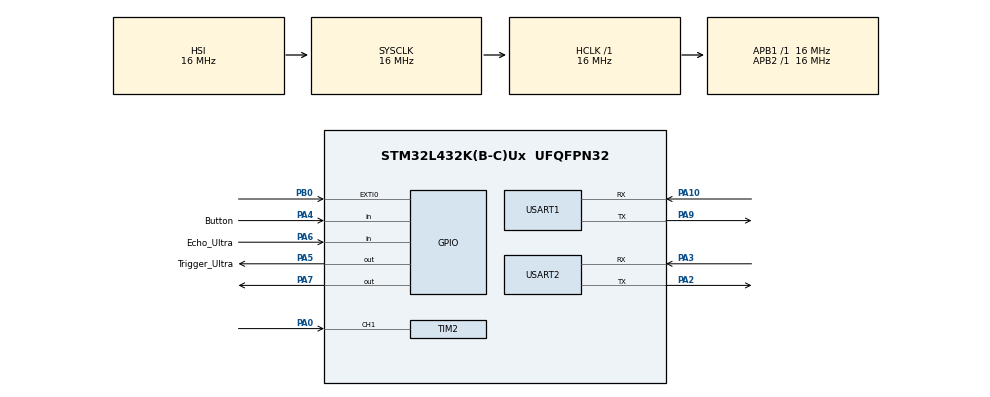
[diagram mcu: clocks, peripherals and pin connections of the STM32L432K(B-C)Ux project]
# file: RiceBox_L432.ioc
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Dma.Request0=USART1_RX
Dma.Request1=USART2_RX
Dma.USART1_RX.0.Direction=DMA_PERIPH_TO_MEMORY
Dma.USART1_RX.0.Instance=DMA1_Channel5
Dma.USART1_RX.0.MemDataAlignment=DMA_MDATAALIGN_BYTE
Dma.USART1_RX.0.MemInc=DMA_MINC_ENABLE
Dma.USART1_RX.0.Mode=DMA_CIRCULAR
Dma.USART1_RX.0.PeriphDataAlignment=DMA_PDATAALIGN_BYTE
Dma.USART1_RX.0.PeriphInc=DMA_PINC_DISABLE
Dma.USART1_RX.0.Priority=DMA_PRIORITY_MEDIUM
Dma.USART2_RX.1.Direction=DMA_PERIPH_TO_MEMORY
Dma.USART2_RX.1.Instance=DMA1_Channel6
Dma.USART2_RX.1.MemDataAlignment=DMA_MDATAALIGN_BYTE
Dma.USART2_RX.1.MemInc=DMA_MINC_ENABLE
Dma.USART2_RX.1.Mode=DMA_NORMAL
Dma.USART2_RX.1.PeriphDataAlignment=DMA_PDATAALIGN_BYTE
Dma.USART2_RX.1.PeriphInc=DMA_PINC_DISABLE
Dma.USART2_RX.1.Priority=DMA_PRIORITY_LOW
IWDG.Prescaler=IWDG_PRESCALER_256
Mcu.Family=STM32L4
Mcu.Name=STM32L432K(B-C)Ux
Mcu.Package=UFQFPN32
NVIC.DMA1_Channel5_IRQn=true\:2\:0\:true\:false\:true\:false\:true\:true
NVIC.DMA1_Channel6_IRQn=true\:0\:0\:false\:false\:true\:false\:true\:true
NVIC.EXTI0_IRQn=true\:0\:0\:false\:false\:true\:true\:true\:true
NVIC.LPTIM1_IRQn=true\:0\:0\:false\:false\:true\:true\:true\:true
NVIC.PriorityGroup=NVIC_PRIORITYGROUP_4
NVIC.RTC_Alarm_IRQn=true\:0\:0\:false\:false\:true\:true\:true\:true
NVIC.TIM1_UP_TIM16_IRQn=true\:15\:0\:false\:false\:true\:false\:true\:true
NVIC.TIM2_IRQn=true\:0\:0\:false\:false\:true\:true\:true\:true
NVIC.TimeBase=TIM1_UP_TIM16_IRQn
NVIC.TimeBaseIP=TIM1
NVIC.USART1_IRQn=true\:2\:0\:true\:false\:true\:true\:true\:true
NVIC.USART2_IRQn=true\:0\:0\:false\:false\:true\:true\:true\:true
PA0.Signal=S_TIM2_CH1
PA10.GPIO_ModeDefaultPP=GPIO_MODE_AF_OD
PA10.GPIO_PuPd=GPIO_PULLDOWN
PA10.Mode=Asynchronous
PA10.Signal=USART1_RX
PA13\ (JTMS-SWDIO).Mode=Serial_Wire
PA13\ (JTMS-SWDIO).Signal=SYS_JTMS-SWDIO
PA14\ (JTCK-SWCLK).Mode=Serial_Wire
PA14\ (JTCK-SWCLK).Signal=SYS_JTCK-SWCLK
PA2.Mode=Asynchronous
PA2.Signal=USART2_TX
PA3.GPIO_PuPd=GPIO_PULLDOWN
PA3.Mode=Asynchronous
PA3.Signal=USART2_RX
PA4.GPIO_Label=Button
PA4.GPIO_PuPd=GPIO_PULLDOWN
PA4.Signal=GPIO_Input
PA5.GPIO_Label=Trigger_Ultra
PA5.Signal=GPIO_Output
PA6.GPIO_Label=Echo_Ultra
PA6.Signal=GPIO_Input
PA7.Signal=GPIO_Output
PA9.Mode=Asynchronous
PA9.Signal=USART1_TX
PB0.Signal=GPXTI0
ProjectManager.HeapSize=0x200
ProjectManager.StackSize=0x400
ProjectManager.TargetToolchain=STM32CubeIDE
RCC.ADCFreq_Value=32000000
RCC.AHBFreq_Value=16000000
RCC.APB1Freq_Value=16000000
RCC.APB1TimFreq_Value=16000000
RCC.APB2Freq_Value=16000000
RCC.APB2TimFreq_Value=16000000
RCC.CortexFreq_Value=16000000
RCC.HCLKFreq_Value=16000000
RCC.HSE_VALUE=8000000
RCC.HSI48_VALUE=48000000
RCC.HSI_VALUE=16000000
RCC.LSE_VALUE=32768
RCC.MSIClockRange=RCC_MSIRANGE_7
RCC.MSI_VALUE=8000000
RCC.SYSCLKFreq_VALUE=16000000
RCC.SYSCLKSource=RCC_SYSCLKSOURCE_HSI
RCC.USBFreq_Value=32000000
RCC.VCOOutputFreq_Value=64000000
RTC.Alarm=RTC_ALARM_A
SH.S_TIM2_CH1.0=TIM2_CH1,Input_Capture1_from_TI1
TIM2.Channel-Input_Capture1_from_TI1=TIM_CHANNEL_1
TIM2.Period=0
TIM2.Prescaler=16-1
USART1.VirtualMode-Asynchronous=VM_ASYNC
USART2.VirtualMode-Asynchronous=VM_ASYNC
VP_IWDG_VS_IWDG.Mode=IWDG_Activate
VP_LPTIM1_VS_LPTIM_counterModeInternalClock.Mode=Counts__internal_clock_event_00
VP_RTC_VS_RTC_Activate.Mode=RTC_Enabled
VP_RTC_VS_RTC_Alarm_A_Intern.Mode=Alarm A
VP_RTC_VS_RTC_Calendar.Mode=RTC_Calendar
VP_SYS_VS_tim1.Mode=TIM1
VP_TIM2_VS_ClockSourceINT.Mode=Internal
board=custom

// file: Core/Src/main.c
/* USER CODE BEGIN Header */
/**
  ******************************************************************************
  * @file           : main.c
  * @brief          : Main program body
  ******************************************************************************
  * @attention
  *
  * Copyright (c) 2023 STMicroelectronics.
  * All rights reserved.
  *
  * This software is licensed under terms that can be found in the LICENSE file
  * in the root directory of this software component.
  * If no LICENSE file comes with this software, it is provided AS-IS.
  *
  ******************************************************************************
  */
/* USER CODE END Header */
#include "main.h"

/* USER CODE BEGIN Includes */
//#include "dma.h"
//#include "iwdg.h"
//#include "rtc.h"
//#include "tim.h"
//#include "usart.h"
//#include "gpio.h"

//#include "button.h"
//#include "Software_Timer.h"
#include "ViettelSDK.h"
#include "string.h"
#include "DHT.h"
#include <stdio.h>
/* USER CODE END Includes */

/* USER CODE BEGIN PTD */
#define usTIM TIM2
/* USER CODE END PTD */

/* USER CODE BEGIN PD */
#define TRIGGER_PIN GPIO_PIN_5
#define ECHO_PIN GPIO_PIN_6
#define TRIGGER_PORT GPIOA
#define ECHO_PORT GPIOA
/* USER CODE END PD */

IWDG_HandleTypeDef hiwdg;

LPTIM_HandleTypeDef hlptim1;

RTC_HandleTypeDef hrtc;

TIM_HandleTypeDef htim2;

UART_HandleTypeDef huart1;
UART_HandleTypeDef huart2;
DMA_HandleTypeDef hdma_usart1_rx;
DMA_HandleTypeDef hdma_usart2_rx;

/* USER CODE BEGIN PV */
struct ViettelSDK sdk_handler;
volatile uint32_t pulse;

/* USER CODE END PV */

void SystemClock_Config(void);
static void MX_GPIO_Init(void);
static void MX_DMA_Init(void);
static void MX_IWDG_Init(void);
static void MX_LPTIM1_Init(void);
static void MX_RTC_Init(void);
static void MX_TIM2_Init(void);
static void MX_USART1_UART_Init(void);
static void MX_USART2_UART_Init(void);
/* USER CODE BEGIN PFP */
static uint32_t Read_Ultrasonic_Distance(void);
void Set_Pin_Output (GPIO_TypeDef *GPIOx, uint16_t GPIO_Pin);
void Set_Pin_Input (GPIO_TypeDef *GPIOx, uint16_t GPIO_Pin);
void usDelay(uint32_t uSec);
/* USER CODE END PFP */

/* USER CODE BEGIN 0 */
void HAL_UARTEx_RxEventCallback(UART_HandleTypeDef *huart, uint16_t Size) {
	//writeLog(&sdk_handler, LOG_DEBUG, "Interrupt RX\n\n", true);
	saveResponse(&sdk_handler, huart, Size);
}

#if defined(__GNUC__)
int _write(int fd, char * ptr, int len) {
  HAL_UART_Transmit( & huart2, (uint8_t * ) ptr, len, HAL_MAX_DELAY);
  return len;
}
#elif defined(__ICCARM__)#include "LowLevelIOInterface.h"

size_t __write(int handle,
  const unsigned char * buffer, size_t size) {
  HAL_UART_Transmit( & huart2, (uint8_t * ) buffer, size, HAL_MAX_DELAY);
  return size;
}
#elif defined(__CC_ARM)
int fputc(int ch, FILE * f) {
  HAL_UART_Transmit( & huart2, (uint8_t * ) & ch, 1, HAL_MAX_DELAY);
  return ch;
}
#endif

DHT_DataTypedef DHT11_Data;
uint8_t Temperature, Humidity;
uint32_t distance ;
//Speed of sound in cm/usec
const float speedOfSound = 0.0343;
/* USER CODE END 0 */

int main(void)
{

  /* MCU Configuration--------------------------------------------------------*/

  /* Reset of all peripherals, Initializes the Flash interface and the Systick. */
  HAL_Init();

  /* Configure the system clock */
  SystemClock_Config();

  /* Initialize all configured peripherals */
  MX_GPIO_Init();
  MX_DMA_Init();
  MX_IWDG_Init();
  MX_LPTIM1_Init();
  MX_RTC_Init();
  MX_TIM2_Init();
  MX_USART1_UART_Init();
  MX_USART2_UART_Init();
  /* USER CODE BEGIN 2 */
  initializeSDK(&sdk_handler, &huart2, &huart1, &hdma_usart1_rx, GPIOA, GPIO_PIN_7, &hrtc);

//  setupMQTTParameters(&sdk_handler, "mqtt.innoway.vn", "1883", 5000, 512, 1,
//  			"ef2885df-341c-44e6-9fbf-a185a36a8f1a", 3, "demo",
//  			"a2yVP58DWKhQEJkiQWQZt3nFgoQabHyS");

  addData(&sdk_handler, "data", &pulse, VALUE_UINT32_T);

  updateFLASHData(&sdk_handler);
  /* USER CODE END 2 */

  /* Infinite loop */
  /* USER CODE BEGIN WHILE */
  	//HAL_TIM_Base_Start_IT (&hlptim1);
  	resetDMAInterrupt_2(&sdk_handler);

  while (1)
  {
	  	  	printf("Start to read DHT\r\n");
	  	  	DHT_GetData(&DHT11_Data);
		  	Temperature = DHT11_Data.Temperature;
		  	Humidity = DHT11_Data.Humidity;
		  	printf("Temperature: %d C, Humidity: %d%%\r\n", Temperature, Humidity);

	        // wait for 1 second
		  	HAL_Delay(1000);
	        //Read Ultrasonic Sensor
	       	distance = Read_Ultrasonic_Distance();
	       	printf("Distance: %lu cm\n", distance);

	       	sdk_handler.data7022[2] = distance;
	       	sdk_handler.data7022[3] = Temperature;
	       	sdk_handler.data7022[4] = Humidity;

//		  	  sprintf(sdk_handler.log_content,"Temperature: %d C, Humidity: %d%%\r\n", Temperature, Humidity);
//
//		  	  writeLog(&sdk_handler, LOG_DEBUG, sdk_handler.log_content, true);
//
//		  	  HAL_Delay(1000);

	       	connectToPlatform(&sdk_handler);

    /* USER CODE END WHILE */

  }
}

void SystemClock_Config(void)
{
  RCC_OscInitTypeDef RCC_OscInitStruct = {0};
  RCC_ClkInitTypeDef RCC_ClkInitStruct = {0};

  /** Configure the main internal regulator output voltage
  */
  if (HAL_PWREx_ControlVoltageScaling(PWR_REGULATOR_VOLTAGE_SCALE1) != HAL_OK)
  {
    Error_Handler();
  }

  /** Initializes the RCC Oscillators according to the specified parameters
  * in the RCC_OscInitTypeDef structure.
  */
  RCC_OscInitStruct.OscillatorType = RCC_OSCILLATORTYPE_HSI|RCC_OSCILLATORTYPE_LSI;
  RCC_OscInitStruct.HSIState = RCC_HSI_ON;
  RCC_OscInitStruct.HSICalibrationValue = RCC_HSICALIBRATION_DEFAULT;
  RCC_OscInitStruct.LSIState = RCC_LSI_ON;
  RCC_OscInitStruct.PLL.PLLState = RCC_PLL_NONE;
  if (HAL_RCC_OscConfig(&RCC_OscInitStruct) != HAL_OK)
  {
    Error_Handler();
  }

  /** Initializes the CPU, AHB and APB buses clocks
  */
  RCC_ClkInitStruct.ClockType = RCC_CLOCKTYPE_HCLK|RCC_CLOCKTYPE_SYSCLK
                              |RCC_CLOCKTYPE_PCLK1|RCC_CLOCKTYPE_PCLK2;
  RCC_ClkInitStruct.SYSCLKSource = RCC_SYSCLKSOURCE_HSI;
  RCC_ClkInitStruct.AHBCLKDivider = RCC_SYSCLK_DIV1;
  RCC_ClkInitStruct.APB1CLKDivider = RCC_HCLK_DIV1;
  RCC_ClkInitStruct.APB2CLKDivider = RCC_HCLK_DIV1;

  if (HAL_RCC_ClockConfig(&RCC_ClkInitStruct, FLASH_LATENCY_0) != HAL_OK)
  {
    Error_Handler();
  }
}

static void MX_IWDG_Init(void)
{

  /* USER CODE BEGIN IWDG_Init 0 */
//
  /* USER CODE END IWDG_Init 0 */

  /* USER CODE BEGIN IWDG_Init 1 */
//
  /* USER CODE END IWDG_Init 1 */
  hiwdg.Instance = IWDG;
  hiwdg.Init.Prescaler = IWDG_PRESCALER_256;
  hiwdg.Init.Window = 4095;
  hiwdg.Init.Reload = 4095;
  if (HAL_IWDG_Init(&hiwdg) != HAL_OK)
  {
    Error_Handler();
  }
  /* USER CODE BEGIN IWDG_Init 2 */
//
  /* USER CODE END IWDG_Init 2 */

}

static void MX_LPTIM1_Init(void)
{

  /* USER CODE BEGIN LPTIM1_Init 0 */
//
  /* USER CODE END LPTIM1_Init 0 */

  /* USER CODE BEGIN LPTIM1_Init 1 */
//
  /* USER CODE END LPTIM1_Init 1 */
  hlptim1.Instance = LPTIM1;
  hlptim1.Init.Clock.Source = LPTIM_CLOCKSOURCE_APBCLOCK_LPOSC;
  hlptim1.Init.Clock.Prescaler = LPTIM_PRESCALER_DIV1;
  hlptim1.Init.Trigger.Source = LPTIM_TRIGSOURCE_SOFTWARE;
  hlptim1.Init.OutputPolarity = LPTIM_OUTPUTPOLARITY_HIGH;
  hlptim1.Init.UpdateMode = LPTIM_UPDATE_IMMEDIATE;
  hlptim1.Init.CounterSource = LPTIM_COUNTERSOURCE_INTERNAL;
  hlptim1.Init.Input1Source = LPTIM_INPUT1SOURCE_GPIO;
  hlptim1.Init.Input2Source = LPTIM_INPUT2SOURCE_GPIO;
  if (HAL_LPTIM_Init(&hlptim1) != HAL_OK)
  {
    Error_Handler();
  }
  /* USER CODE BEGIN LPTIM1_Init 2 */
//
  /* USER CODE END LPTIM1_Init 2 */

}

static void MX_RTC_Init(void)
{

  /* USER CODE BEGIN RTC_Init 0 */
//
  /* USER CODE END RTC_Init 0 */

  RTC_TimeTypeDef sTime = {0};
  RTC_DateTypeDef sDate = {0};
  RTC_AlarmTypeDef sAlarm = {0};

  /* USER CODE BEGIN RTC_Init 1 */
//
  /* USER CODE END RTC_Init 1 */

  /** Initialize RTC Only
  */
  hrtc.Instance = RTC;
  hrtc.Init.HourFormat = RTC_HOURFORMAT_24;
  hrtc.Init.AsynchPrediv = 127;
  hrtc.Init.SynchPrediv = 255;
  hrtc.Init.OutPut = RTC_OUTPUT_DISABLE;
  hrtc.Init.OutPutRemap = RTC_OUTPUT_REMAP_NONE;
  hrtc.Init.OutPutPolarity = RTC_OUTPUT_POLARITY_HIGH;
  hrtc.Init.OutPutType = RTC_OUTPUT_TYPE_OPENDRAIN;
  if (HAL_RTC_Init(&hrtc) != HAL_OK)
  {
    Error_Handler();
  }

  /** Initialize RTC and set the Time and Date
  */
  sTime.Hours = 0x0;
  sTime.Minutes = 0x0;
  sTime.Seconds = 0x0;
  sTime.DayLightSaving = RTC_DAYLIGHTSAVING_NONE;
  sTime.StoreOperation = RTC_STOREOPERATION_RESET;
  if (HAL_RTC_SetTime(&hrtc, &sTime, RTC_FORMAT_BCD) != HAL_OK)
  {
    Error_Handler();
  }
  sDate.WeekDay = RTC_WEEKDAY_MONDAY;
  sDate.Month = RTC_MONTH_JANUARY;
  sDate.Date = 0x1;
  sDate.Year = 0x0;

  if (HAL_RTC_SetDate(&hrtc, &sDate, RTC_FORMAT_BCD) != HAL_OK)
  {
    Error_Handler();
  }

  /** Enable the Alarm A
  */
  sAlarm.AlarmTime.Hours = 0x0;
  sAlarm.AlarmTime.Minutes = 0x0;
  sAlarm.AlarmTime.Seconds = 0x0;
  sAlarm.AlarmTime.SubSeconds = 0x0;
  sAlarm.AlarmTime.DayLightSaving = RTC_DAYLIGHTSAVING_NONE;
  sAlarm.AlarmTime.StoreOperation = RTC_STOREOPERATION_RESET;
  sAlarm.AlarmMask = RTC_ALARMMASK_NONE;
  sAlarm.AlarmSubSecondMask = RTC_ALARMSUBSECONDMASK_ALL;
  sAlarm.AlarmDateWeekDaySel = RTC_ALARMDATEWEEKDAYSEL_DATE;
  sAlarm.AlarmDateWeekDay = 0x1;
  sAlarm.Alarm = RTC_ALARM_A;
  if (HAL_RTC_SetAlarm_IT(&hrtc, &sAlarm, RTC_FORMAT_BCD) != HAL_OK)
  {
    Error_Handler();
  }
  /* USER CODE BEGIN RTC_Init 2 */
//
  /* USER CODE END RTC_Init 2 */

}

static void MX_TIM2_Init(void)
{

  TIM_ClockConfigTypeDef sClockSourceConfig = {0};
  TIM_MasterConfigTypeDef sMasterConfig = {0};
  TIM_IC_InitTypeDef sConfigIC = {0};

  htim2.Instance = TIM2;
  htim2.Init.Prescaler = 16-1;
  htim2.Init.CounterMode = TIM_COUNTERMODE_UP;
  htim2.Init.Period = 0;
  htim2.Init.ClockDivision = TIM_CLOCKDIVISION_DIV1;
  htim2.Init.AutoReloadPreload = TIM_AUTORELOAD_PRELOAD_DISABLE;
  if (HAL_TIM_Base_Init(&htim2) != HAL_OK)
  {
    Error_Handler();
  }
  sClockSourceConfig.ClockSource = TIM_CLOCKSOURCE_INTERNAL;
  if (HAL_TIM_ConfigClockSource(&htim2, &sClockSourceConfig) != HAL_OK)
  {
    Error_Handler();
  }
  if (HAL_TIM_IC_Init(&htim2) != HAL_OK)
  {
    Error_Handler();
  }
  sMasterConfig.MasterOutputTrigger = TIM_TRGO_RESET;
  sMasterConfig.MasterSlaveMode = TIM_MASTERSLAVEMODE_DISABLE;
  if (HAL_TIMEx_MasterConfigSynchronization(&htim2, &sMasterConfig) != HAL_OK)
  {
    Error_Handler();
  }
  sConfigIC.ICPolarity = TIM_INPUTCHANNELPOLARITY_RISING;
  sConfigIC.ICSelection = TIM_ICSELECTION_DIRECTTI;
  sConfigIC.ICPrescaler = TIM_ICPSC_DIV1;
  sConfigIC.ICFilter = 0;
  if (HAL_TIM_IC_ConfigChannel(&htim2, &sConfigIC, TIM_CHANNEL_1) != HAL_OK)
  {
    Error_Handler();
  }

}

static void MX_USART1_UART_Init(void)
{

  /* USER CODE BEGIN USART1_Init 0 */
//
  /* USER CODE END USART1_Init 0 */

  /* USER CODE BEGIN USART1_Init 1 */
//
  /* USER CODE END USART1_Init 1 */
  huart1.Instance = USART1;
  huart1.Init.BaudRate = 115200;
  huart1.Init.WordLength = UART_WORDLENGTH_8B;
  huart1.Init.StopBits = UART_STOPBITS_1;
  huart1.Init.Parity = UART_PARITY_NONE;
  huart1.Init.Mode = UART_MODE_TX_RX;
  huart1.Init.HwFlowCtl = UART_HWCONTROL_NONE;
  huart1.Init.OverSampling = UART_OVERSAMPLING_16;
  huart1.Init.OneBitSampling = UART_ONE_BIT_SAMPLE_DISABLE;
  huart1.AdvancedInit.AdvFeatureInit = UART_ADVFEATURE_NO_INIT;
  if (HAL_UART_Init(&huart1) != HAL_OK)
  {
    Error_Handler();
  }
  /* USER CODE BEGIN USART1_Init 2 */
//
  /* USER CODE END USART1_Init 2 */

}

static void MX_USART2_UART_Init(void)
{

  /* USER CODE BEGIN USART2_Init 0 */
//
  /* USER CODE END USART2_Init 0 */

  /* USER CODE BEGIN USART2_Init 1 */
//
  /* USER CODE END USART2_Init 1 */
  huart2.Instance = USART2;
  huart2.Init.BaudRate = 115200;
  huart2.Init.WordLength = UART_WORDLENGTH_8B;
  huart2.Init.StopBits = UART_STOPBITS_1;
  huart2.Init.Parity = UART_PARITY_NONE;
  huart2.Init.Mode = UART_MODE_TX_RX;
  huart2.Init.HwFlowCtl = UART_HWCONTROL_NONE;
  huart2.Init.OverSampling = UART_OVERSAMPLING_16;
  huart2.Init.OneBitSampling = UART_ONE_BIT_SAMPLE_DISABLE;
  huart2.AdvancedInit.AdvFeatureInit = UART_ADVFEATURE_NO_INIT;
  if (HAL_UART_Init(&huart2) != HAL_OK)
  {
    Error_Handler();
  }
  /* USER CODE BEGIN USART2_Init 2 */
//
  /* USER CODE END USART2_Init 2 */

}

static void MX_DMA_Init(void)
{

  /* DMA controller clock enable */
  __HAL_RCC_DMA1_CLK_ENABLE();

  /* DMA interrupt init */
  /* DMA1_Channel5_IRQn interrupt configuration */
  HAL_NVIC_SetPriority(DMA1_Channel5_IRQn, 2, 0);
  HAL_NVIC_EnableIRQ(DMA1_Channel5_IRQn);
  /* DMA1_Channel6_IRQn interrupt configuration */
  HAL_NVIC_SetPriority(DMA1_Channel6_IRQn, 0, 0);
  HAL_NVIC_EnableIRQ(DMA1_Channel6_IRQn);

}

static void MX_GPIO_Init(void)
{
  GPIO_InitTypeDef GPIO_InitStruct = {0};

  /* GPIO Ports Clock Enable */
  __HAL_RCC_GPIOA_CLK_ENABLE();
  __HAL_RCC_GPIOB_CLK_ENABLE();

  /*Configure GPIO pin Output Level */
  HAL_GPIO_WritePin(GPIOA, Trigger_Ultra_Pin|GPIO_PIN_7, GPIO_PIN_RESET);

  /*Configure GPIO pin : Button_Pin */
  GPIO_InitStruct.Pin = Button_Pin;
  GPIO_InitStruct.Mode = GPIO_MODE_INPUT;
  GPIO_InitStruct.Pull = GPIO_PULLDOWN;
  HAL_GPIO_Init(Button_GPIO_Port, &GPIO_InitStruct);

  /*Configure GPIO pins : Trigger_Ultra_Pin PA7 */
  GPIO_InitStruct.Pin = Trigger_Ultra_Pin|GPIO_PIN_7;
  GPIO_InitStruct.Mode = GPIO_MODE_OUTPUT_PP;
  GPIO_InitStruct.Pull = GPIO_NOPULL;
  GPIO_InitStruct.Speed = GPIO_SPEED_FREQ_LOW;
  HAL_GPIO_Init(GPIOA, &GPIO_InitStruct);

  /*Configure GPIO pin : Echo_Ultra_Pin */
  GPIO_InitStruct.Pin = Echo_Ultra_Pin;
  GPIO_InitStruct.Mode = GPIO_MODE_INPUT;
  GPIO_InitStruct.Pull = GPIO_NOPULL;
  HAL_GPIO_Init(Echo_Ultra_GPIO_Port, &GPIO_InitStruct);

  /*Configure GPIO pin : PB0 */
  GPIO_InitStruct.Pin = GPIO_PIN_0;
  GPIO_InitStruct.Mode = GPIO_MODE_IT_RISING;
  GPIO_InitStruct.Pull = GPIO_NOPULL;
  HAL_GPIO_Init(GPIOB, &GPIO_InitStruct);

  /* EXTI interrupt init*/
  HAL_NVIC_SetPriority(EXTI0_IRQn, 0, 0);
  HAL_NVIC_EnableIRQ(EXTI0_IRQn);

}

/* USER CODE BEGIN 4 */
void Ultrasonic_Init(void) {
    GPIO_InitTypeDef GPIO_InitStruct = {0};

    // Enable clock for GPIOA
    __HAL_RCC_GPIOA_CLK_ENABLE();

    // Configure trigger pin as output
    GPIO_InitStruct.Pin = TRIGGER_PIN;
    GPIO_InitStruct.Mode = GPIO_MODE_OUTPUT_PP;
    GPIO_InitStruct.Speed = GPIO_SPEED_FREQ_LOW;
    HAL_GPIO_Init(TRIGGER_PORT, &GPIO_InitStruct);

    // Configure echo pin as input
    GPIO_InitStruct.Pin = ECHO_PIN;
    GPIO_InitStruct.Mode = GPIO_MODE_INPUT;
    HAL_GPIO_Init(ECHO_PORT, &GPIO_InitStruct);

//    // Initialize timer
//    __HAL_RCC_TIM2_CLK_ENABLE();
//
//    htim4.Instance = TIM2;
//    htim4.Init.Prescaler = 83; // 1 microsecond resolution
//    htim4.Init.CounterMode = TIM_COUNTERMODE_UP;
//    htim4.Init.Period = 0xFFFFFFFF; // Maximum period to measure long distances
//    htim4.Init.ClockDivision = TIM_CLOCKDIVISION_DIV1;
//    HAL_TIM_Base_Init(&htim4);
}

uint32_t Read_Ultrasonic_Distance(void) {

	HAL_GPIO_WritePin(TRIGGER_PORT, TRIGGER_PIN, GPIO_PIN_RESET);
	usDelay(3);
    // Send a 10us pulse to trigger the ultrasonic sensor
    HAL_GPIO_WritePin(TRIGGER_PORT, TRIGGER_PIN, GPIO_PIN_SET);
    usDelay(10);
    HAL_GPIO_WritePin(TRIGGER_PORT, TRIGGER_PIN, GPIO_PIN_RESET);

    // Wait for the rising edge of the echo signal
    while (HAL_GPIO_ReadPin(ECHO_PORT, ECHO_PIN) == GPIO_PIN_RESET);

    // Start measuring ECHO pulse width in usec
    		uint32_t numTicks = 0;
    		while(HAL_GPIO_ReadPin(ECHO_PORT, ECHO_PIN) == GPIO_PIN_SET)
    		{
    			numTicks++;
    			usDelay(2); //2.8usec
    		};

    // Estimate distance in cm
    		distance = (numTicks + 0.0f)*3*2.8*speedOfSound/2;
    return distance;
}

/* USER CODE BEGIN 4 */
void usDelay(uint32_t uSec)
{
	if(uSec < 2) uSec = 2;
	usTIM->ARR = uSec - 1; 	/*sets the value in the auto-reload register*/
	usTIM->EGR = 1; 		/*Re-initialises the timer*/
	usTIM->SR &= ~1; 		//Resets the flag
	usTIM->CR1 |= 1; 		//Enables the counter
	while((usTIM->SR&0x0001) != 1);
	usTIM->SR &= ~(0x0001);
}
/* USER CODE END 4 */

void HAL_TIM_PeriodElapsedCallback(TIM_HandleTypeDef *htim)
{
  /* USER CODE BEGIN Callback 0 */
//	if (htim == &hlptim1){
//			getKeyInput1();
//
//			if (isButton1Pressed()){
//				//TODO
//				HAL_PWR_DisableSleepOnExit();
//			}
//
//		}
  /* USER CODE END Callback 0 */
  if (htim->Instance == TIM1) {
    HAL_IncTick();
  }
}

void Error_Handler(void)
{
  __disable_irq();
  while (1)
  {
  }
}
